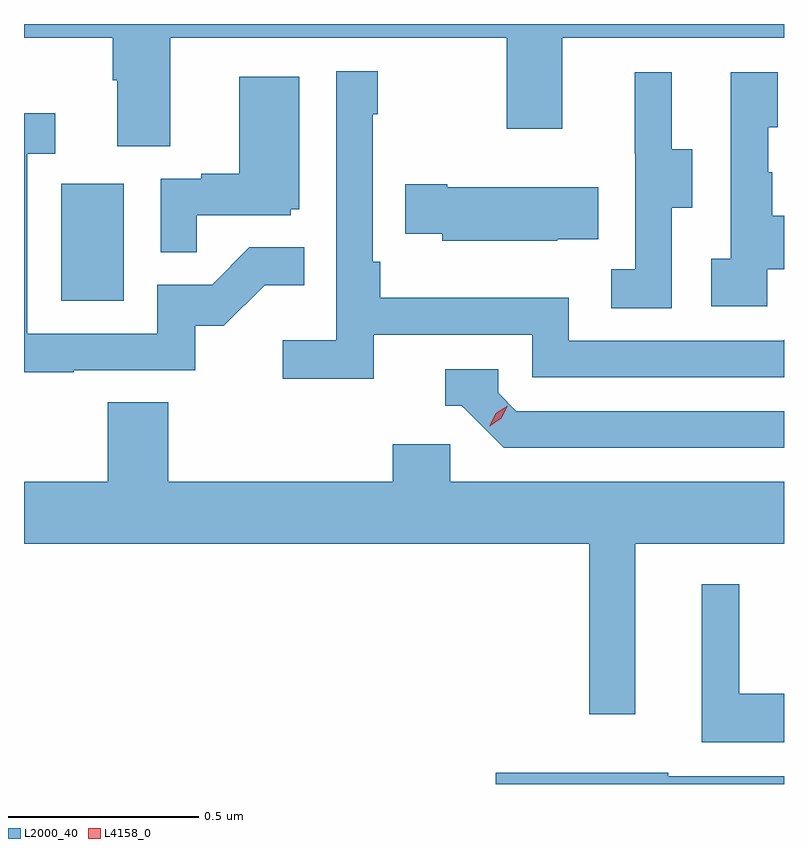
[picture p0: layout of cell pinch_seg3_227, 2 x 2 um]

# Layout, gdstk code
import gdstk
lib = gdstk.Library(unit=1e-6, precision=1e-09)
def R(c, l, rs):  # rectangles x0, y0, x1, y1
    for r in rs: c.add(gdstk.rectangle(r[:2], r[2:], *l))
def P(c, l, *ps):  # polygons
    for p in ps: c.add(gdstk.Polygon(p, *l))
L2000_40 = (2000, 40)
L4158_0 = (4158, 0)

pinch_seg3_227 = lib.new_cell('pinch_seg3_227')
R(pinch_seg3_227, L2000_40, [(932.774,738.852,932.938,739.159)])
P(pinch_seg3_227, L2000_40, [(933.061,739.544),(933.946,739.544),(933.946,739.305),(934.093,739.305),(934.093,739.544),(934.676,739.544),(934.676,739.58),(932.676,739.58),(932.676,739.544),(932.909,739.544),(932.909,739.432),(932.921,739.432),(932.921,739.258),(933.061,739.258)],
  [(933.596,738.762),(934.014,738.762),(934.014,738.651),(934.676,738.651),(934.676,738.749),(934.674,738.747),(934.11,738.747),(934.11,738.859),(933.614,738.859),(933.614,738.955),(933.594,738.955),(933.594,739.343),(933.607,739.343),(933.607,739.456),(933.498,739.456),(933.498,738.748),(933.357,738.748),(933.357,738.646),(933.596,738.646)],
  [(934.632,738.935),(934.676,738.935),(934.676,739.075),(934.645,739.075),(934.645,739.19),(934.635,739.19),(934.635,739.308),(934.66,739.308),(934.66,739.453),(934.536,739.453),(934.536,738.962),(934.485,738.962),(934.485,738.837),(934.632,738.837)],
  [(934.38,739.096),(934.435,739.096),(934.435,739.251),(934.381,739.251),(934.381,739.453),(934.283,739.453),(934.283,739.239),(934.284,739.239),(934.284,738.935),(934.221,738.935),(934.221,738.832),(934.38,738.832)],
  [(933.131,739.077),(933.378,739.077),(933.378,739.092),(933.4,739.092),(933.4,739.441),(933.242,739.441),(933.242,739.186),(933.143,739.186),(933.143,739.173),(933.036,739.173),(933.036,738.979),(933.131,738.979)],
  [(932.807,738.669),(933.126,738.669),(933.126,738.786),(933.202,738.786),(933.309,738.893),(933.413,738.893),(933.413,738.992),(933.269,738.992),(933.171,738.894),(933.027,738.894),(933.027,738.765),(932.685,738.765),(932.685,739.239),(932.758,739.239),(932.758,739.345),(932.676,739.345),(932.676,738.664),(932.807,738.664)],
  [(934.079,739.013),(934.187,739.013),(934.187,739.15),(933.79,739.15),(933.79,739.158),(933.679,739.158),(933.679,739.028),(933.777,739.028),(933.777,739.01),(934.079,739.01)],
  [(934.676,738.561),(933.972,738.561),(933.924,738.609),(933.924,738.672),(933.785,738.672),(933.785,738.576),(933.828,738.576),(933.939,738.465),(934.676,738.465)],
  [(934.285,738.212),(934.676,738.212),(934.676,738.376),(933.798,738.376),(933.798,738.474),(933.647,738.474),(933.647,738.376),(933.056,738.376),(933.056,738.584),(932.896,738.584),(932.896,738.376),(932.676,738.376),(932.676,738.212),(934.164,738.212),(934.164,737.763),(934.285,737.763)],
  [(934.676,737.818),(934.558,737.818),(934.558,738.106),(934.46,738.106),(934.46,737.69),(934.676,737.69)],
  [(934.676,737.601),(934.371,737.601),(934.371,737.609),(933.918,737.609),(933.918,737.58),(934.676,737.58)])
P(pinch_seg3_227, L4158_0, [(933.901,738.522),(933.901,738.523),(933.917,738.556),(933.949,738.575),(933.949,738.575),(933.949,738.575),(933.932,738.542),(933.901,738.522)])

lib.write_gds('pinch_seg3_227.gds')
